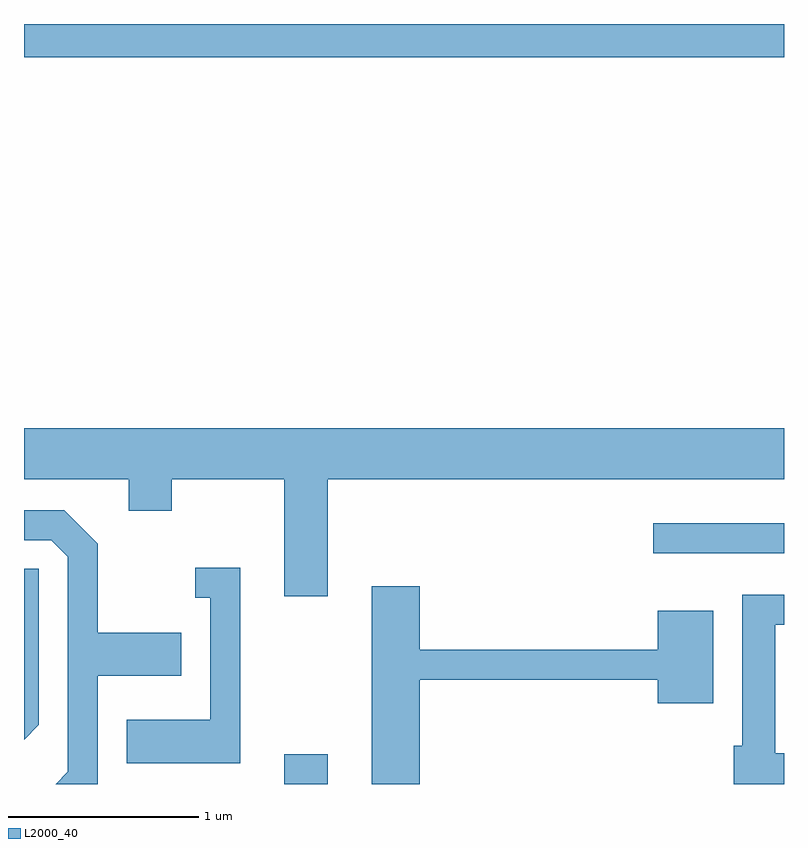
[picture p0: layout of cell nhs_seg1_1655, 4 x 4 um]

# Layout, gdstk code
import gdstk
lib = gdstk.Library(unit=1e-6, precision=1e-09)
def R(c, l, rs):  # rectangles x0, y0, x1, y1
    for r in rs: c.add(gdstk.rectangle(r[:2], r[2:], *l))
def P(c, l, *ps):  # polygons
    for p in ps: c.add(gdstk.Polygon(p, *l))
L2000_40 = (2000, 40)

nhs_seg1_1655 = lib.new_cell('nhs_seg1_1655')
R(nhs_seg1_1655, L2000_40, [(236.981,935.712,237.209,935.869), (238.923,936.926,239.611,937.084), (235.611,939.536,239.611,939.712)])
P(nhs_seg1_1655, L2000_40, [(237.209,937.316),(239.611,937.316),(239.611,937.584),(235.611,937.584),(235.611,937.316),(236.161,937.316),(236.161,937.151),(236.389,937.151),(236.389,937.316),(236.981,937.316),(236.981,936.701),(237.209,936.701)],
  [(235.999,936.281),(236.439,936.281),(236.439,936.509),(235.999,936.509),(235.999,936.977),(235.822,937.154),(235.611,937.154),(235.611,936.996),(235.754,936.996),(235.841,936.909),(235.841,935.777),(235.777,935.712),(235.999,935.712)],
  [(236.749,936.849),(236.513,936.849),(236.513,936.691),(236.591,936.691),(236.591,936.049),(236.151,936.049),(236.151,935.821),(236.749,935.821)],
  [(235.689,936.024),(235.689,936.844),(235.611,936.844),(235.611,935.946)],
  [(237.694,936.261),(238.946,936.261),(238.946,936.136),(239.239,936.136),(239.239,936.624),(238.946,936.624),(238.946,936.419),(237.694,936.419),(237.694,936.754),(237.441,936.754),(237.441,935.712),(237.694,935.712)],
  [(239.611,935.874),(239.564,935.874),(239.564,936.551),(239.611,936.551),(239.611,936.709),(239.391,936.709),(239.391,935.914),(239.346,935.914),(239.346,935.712),(239.611,935.712)])

lib.write_gds('nhs_seg1_1655.gds')
